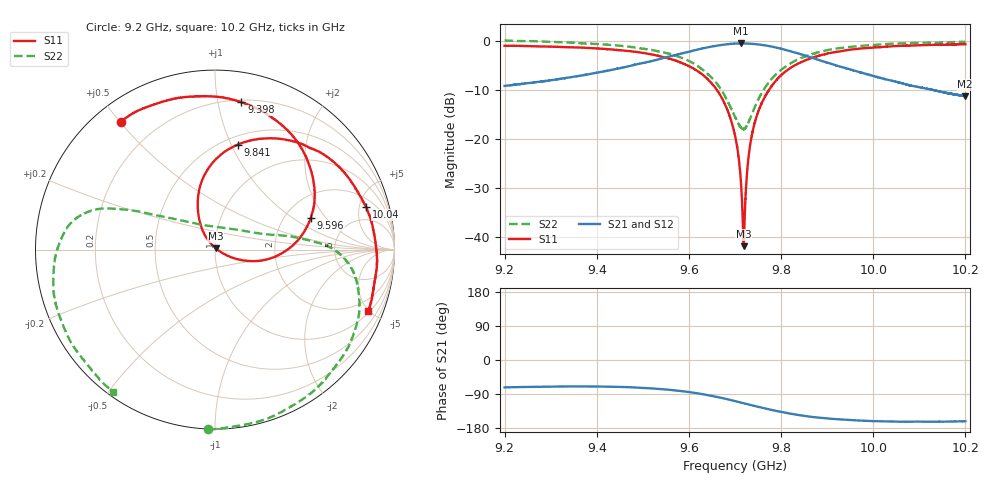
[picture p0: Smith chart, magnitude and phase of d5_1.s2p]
!Agilent Technologies,N5242A,MY51221714,A.09.90.19
!Agilent N5242A: A.09.90.19
!Date: Friday, February 02, 2024 13:18:55
!Correction: S11(Full 2 Port(1,2))
!S21(Full 2 Port(1,2))
!S12(Full 2 Port(1,2))
!S22(Full 2 Port(1,2))
!S2P File: Measurements: S11, S21, S12, S22:
# Hz S  dB  R 50
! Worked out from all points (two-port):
!   16001 points, 9.2 GHz to 10.2 GHz, reference 50 ohm
!   highest |S21| = -0.56 dB at 9.712 GHz (marker M1); lowest = -11.3 dB at 10.2 GHz (marker M2)
!   |S21| within 3 dB of the highest: 9.543 GHz to 9.869 GHz (325.8 MHz wide, 3.36 % of centre); 9.869256 GHz to 9.869333 GHz (77.15 kHz wide, 0.000782 % of centre)
!   lowest |S11| = -41.8 dB at 9.719 GHz (marker M3), VSWR 1.02, Z = 50.4 + j0.691 ohm
!   |S11| at or under -10 dB: 9.66 GHz to 9.774 GHz (113.3 MHz wide, 1.17 % of centre)
!   |S22| runs from -18.0 to 0.0 dB; largest |S21 - S12| = 0.026
!   S11 on the Smith chart (normalised r, x): 9.2 GHz: 0.08, +0.50; 9.398 GHz: 0.22, +1.17; 9.596 GHz: 2.74, +1.43; 9.841 GHz: 0.58, +1.06; 10.04 GHz: 2.89, +5.81; 10.2 GHz: 1.13, -4.98
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9.2e9  -1.05 126.4  -9.21 -72.3  -9.17 -73.6  0.02 -92.1
9.27575e9  -1.16 109.1  -8.35 -70.7  -8.33 -71.9  -0.14 -71.0
9.366688e9  -1.42 87.8  -7.08 -69.7  -7.06 -71.1  -0.54 -46.9
9.398188e9  -1.58 79.8  -6.56 -69.9  -6.52 -71.3  -0.67 -38.8
9.533375e9  -3.09 41.1  -3.82 -76.1  -3.79 -77.3  -2.16 -9.1
9.595625e9  -4.99 18.5  -2.35 -83.9  -2.33 -85.2  -3.95 1.4
9.661875e9  -10.16 -9.3  -1.00 -97.8  -0.99 -99.1  -8.89 12.9
9.7e9  -19.29 -24.5  -0.62 -108.5  -0.58 -109.9  -15.43 40.6
9.712e9  -27.55 -24.0  -0.56 -112.1  -0.53 -113.5  -17.51 65.4
9.715812e9  -34.01 -13.3  -0.57 -113.2  -0.53 -114.6  -17.88 75.8
9.719062e9  -41.79 57.2  -0.58 -114.2  -0.54 -115.6  -18.05 85.3
9.72175e9  -34.04 113.2  -0.58 -115.0  -0.54 -116.4  -17.73 93.5
9.732375e9  -21.53 125.4  -0.62 -118.2  -0.59 -119.7  -15.96 119.1
9.751e9  -14.30 117.3  -0.79 -123.7  -0.75 -125.2  -11.85 140.0
9.788562e9  -8.15 100.7  -1.38 -134.1  -1.37 -135.6  -6.87 152.7
9.841375e9  -4.47 77.9  -2.71 -145.8  -2.70 -147.1  -3.63 159.6
9.866688e9  -3.51 67.8  -3.47 -150.1  -3.45 -151.5  -2.75 162.8
9.941062e9  -1.95 42.7  -5.60 -157.7  -5.60 -159.2  -1.37 175.2
1.003338e10  -1.18 16.5  -7.98 -162.2  -7.98 -163.6  -0.65 -165.8
1.0036e10  -1.17 15.8  -8.04 -162.2  -8.03 -163.6  -0.63 -165.2
1.019981e10  -0.72 -21.6  -11.31 -161.7  -11.29 -163.2  -0.24 -125.7
1.02e10  -0.73 -21.7  -11.30 -161.7  -11.29 -163.2  -0.24 -125.6
